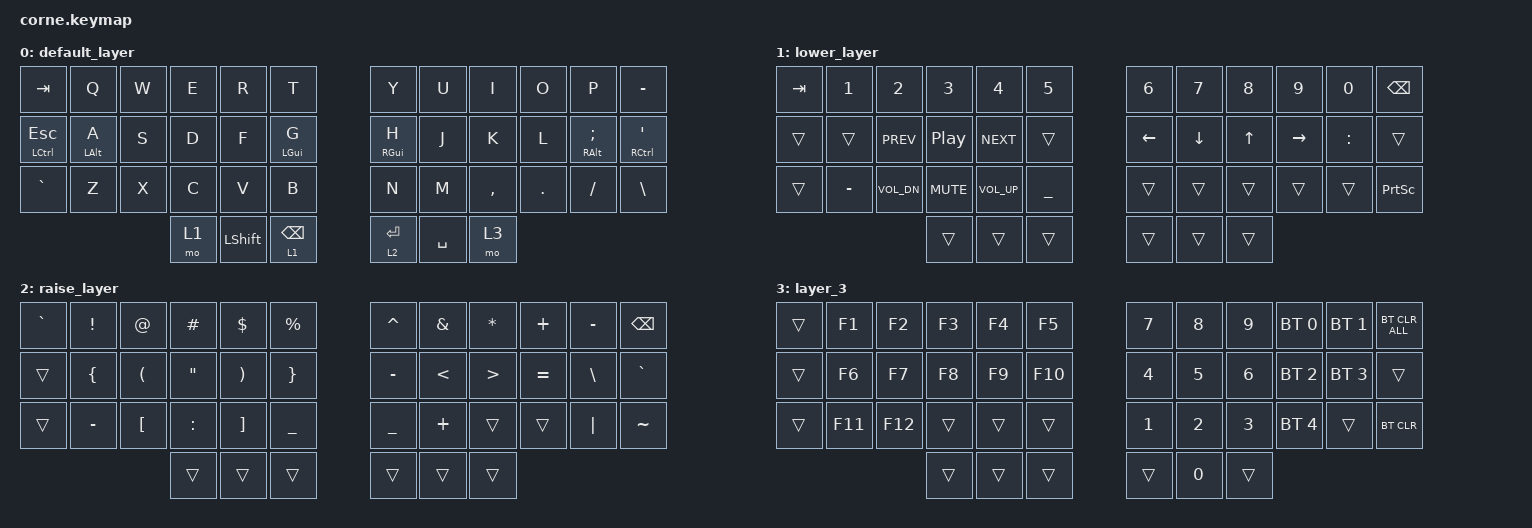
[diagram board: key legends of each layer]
/*
 * Copyright (c) 2020 The ZMK Contributors
 *
 * SPDX-License-Identifier: MIT
 */

#include <behaviors.dtsi>
#include <dt-bindings/zmk/bt.h>
#include <dt-bindings/zmk/keys.h>

/ {
    behaviors {
        hm: hm {
            compatible = "zmk,behavior-hold-tap";
            label = "HOMEROW_MODS";
            bindings = <&kp>, <&kp>;

            #binding-cells = <2>;
            tapping-term-ms = <200>;
            flavor = "tap-preferred";
            quick-tap-ms = <0>;
        };

        cs: cs {
            compatible = "zmk,behavior-hold-tap";
            label = "CUSTOM_SHIFT";
            bindings = <&kp>, <&kp>;

            #binding-cells = <2>;
            tapping-term-ms = <200>;
            flavor = "hold-preferred";
            quick-tap-ms = <0>;
        };

        mlt: mlt {
            compatible = "zmk,behavior-hold-tap";
            label = "LAYER_TAP_BY_HOLD_TAP";
            bindings = <&mo>, <&kp>;

            #binding-cells = <2>;
            tapping-term-ms = <200>;
            flavor = "tap-preferred";
        };
    };

    keymap {
        compatible = "zmk,keymap";

        default_layer {
            // -----------------------------------------------------------------------------------------
            // |  TAB |  Q  |  W  |  E  |  R  |  T  |   |  Y  |  U   |  I  |  O  |  P  | BSPC |
            // | CTRL |  A  |  S  |  D  |  F  |  G  |   |  H  |  J   |  K  |  L  |  ;  |  '   |
            // | SHFT |  Z  |  X  |  C  |  V  |  B  |   |  N  |  M   |  ,  |  .  |  /  | ESC  |
            //                    | GUI | LWR | SPC |   | ENT | RSE  | ALT |

            bindings = <
&kp TAB        &kp Q           &kp W  &kp E  &kp R           &kp T              &kp Y            &kp U      &kp I      &kp O    &kp P                    &kp MINUS
&hm LCTRL ESC  &hm LEFT_ALT A  &kp S  &kp D  &kp F           &hm LEFT_GUI G     &hm RIGHT_GUI H  &kp J      &kp K      &kp L    &hm RIGHT_ALT SEMICOLON  &hm RCTRL SQT
&kp GRAVE      &kp Z           &kp X  &kp C  &kp V           &kp B              &kp N            &kp M      &kp COMMA  &kp DOT  &kp FSLH                 &kp BACKSLASH
                                      &mo 1  &kp LEFT_SHIFT  &lt 1 BACKSPACE    &lt 2 ENTER      &kp SPACE  &mo 3
            >;
        };

        lower_layer {
            // -----------------------------------------------------------------------------------------
            // |  TAB |  1  |  2  |  3  |  4  |  5  |   |  6  |  7  |  8  |  9  |  0  | BSPC |
            // | BTCLR| BT1 | BT2 | BT3 | BT4 | BT5 |   | LFT | DWN |  UP | RGT |     |      |
            // | SHFT |     |     |     |     |     |   |     |     |     |     |     |      |
            //                    | GUI |     | SPC |   | ENT |     | ALT |

            bindings = <
&kp TAB  &kp N1     &kp N2        &kp N3            &kp N4        &kp N5            &kp N6    &kp N7    &kp N8  &kp N9     &kp N0     &kp BSPC
&trans   &trans     &kp C_PREV    &kp C_PLAY_PAUSE  &kp C_NEXT    &trans            &kp LEFT  &kp DOWN  &kp UP  &kp RIGHT  &kp COLON  &trans
&trans   &kp MINUS  &kp C_VOL_DN  &kp K_MUTE        &kp C_VOL_UP  &kp UNDERSCORE    &trans    &trans    &trans  &trans     &trans     &kp PRINTSCREEN
                                  &trans            &trans        &trans            &trans    &trans    &trans
            >;
        };

        raise_layer {
            // -----------------------------------------------------------------------------------------
            // |  TAB |  !  |  @  |  #  |  $  |  %  |   |  ^  |  &  |  *  |  (  |  )  | BSPC |
            // | CTRL |     |     |     |     |     |   |  -  |  =  |  [  |  ]  |  \  |  `   |
            // | SHFT |     |     |     |     |     |   |  _  |  +  |  {  |  }  | "|" |  ~   |
            //                    | GUI |     | SPC |   | ENT |     | ALT |

            bindings = <
&kp GRAVE  &kp EXCL        &kp AT                &kp HASH           &kp DLLR               &kp PRCNT          &kp CARET  &kp AMPS       &kp ASTRK         &kp PLUS   &kp MINUS  &kp BSPC
&trans     &kp LEFT_BRACE  &kp LEFT_PARENTHESIS  &kp DOUBLE_QUOTES  &kp RIGHT_PARENTHESIS  &kp RIGHT_BRACE    &kp MINUS  &kp LESS_THAN  &kp GREATER_THAN  &kp EQUAL  &kp BSLH   &kp GRAVE
&trans     &kp MINUS       &kp LEFT_BRACKET      &kp COLON          &kp RIGHT_BRACKET      &kp UNDERSCORE     &kp UNDER  &kp PLUS       &trans            &trans     &kp PIPE   &kp TILDE
                                                 &trans             &trans                 &trans             &trans     &trans         &trans
            >;
        };

        layer_3 {
            bindings = <
&trans  &kp F1   &kp F2   &kp F3  &kp F4  &kp F5     &kp NUMBER_7  &kp NUMBER_8  &kp NUMBER_9  &bt BT_SEL 0  &bt BT_SEL 1  &bt BT_CLR_ALL
&trans  &kp F6   &kp F7   &kp F8  &kp F9  &kp F10    &kp NUMBER_4  &kp NUMBER_5  &kp NUMBER_6  &bt BT_SEL 2  &bt BT_SEL 3  &trans
&trans  &kp F11  &kp F12  &trans  &trans  &trans     &kp NUMBER_1  &kp NUMBER_2  &kp NUMBER_3  &bt BT_SEL 4  &trans        &bt BT_CLR
                          &trans  &trans  &trans     &trans        &kp NUMBER_0  &trans
            >;
        };
    };
};
